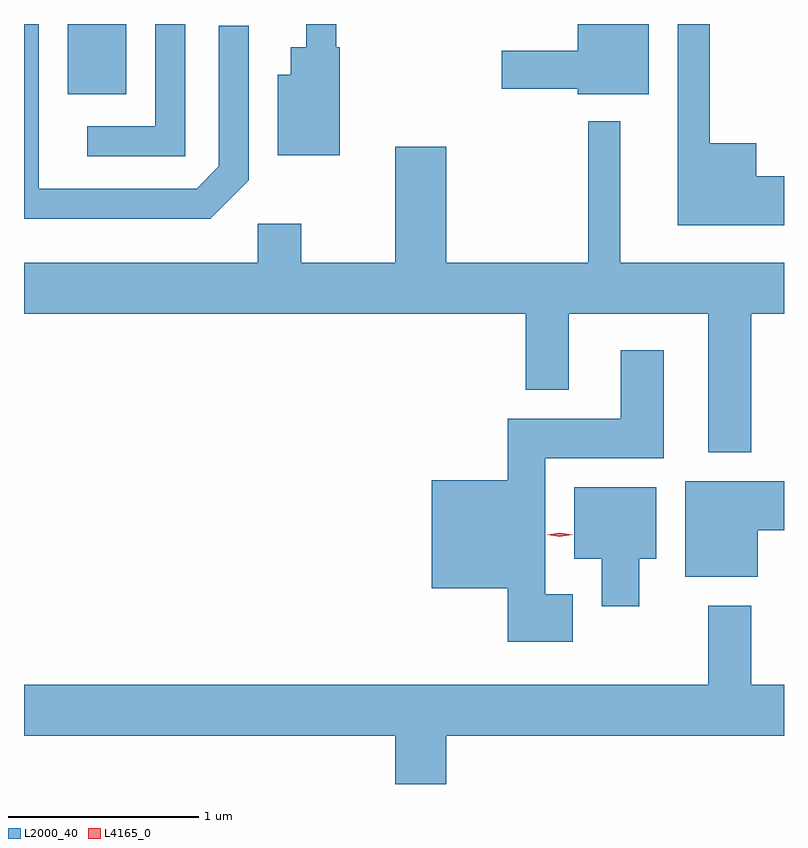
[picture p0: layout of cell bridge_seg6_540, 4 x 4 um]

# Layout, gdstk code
import gdstk
lib = gdstk.Library(unit=1e-6, precision=1e-09)
def R(c, l, rs):  # rectangles x0, y0, x1, y1
    for r in rs: c.add(gdstk.rectangle(r[:2], r[2:], *l))
def P(c, l, *ps):  # polygons
    for p in ps: c.add(gdstk.Polygon(p, *l))
L2000_40 = (2000, 40)
L4165_0 = (4165, 0)

bridge_seg6_540 = lib.new_cell('bridge_seg6_540')
R(bridge_seg6_540, L2000_40, [(433.131,1666.631,433.439,1667.001)])
P(bridge_seg6_540, L2000_40, [(436.189,1667.001),(435.816,1667.001),(435.816,1666.859),(435.416,1666.859),(435.416,1666.661),(435.816,1666.661),(435.816,1666.631),(436.189,1666.631)],
  [(433.918,1666.013),(434.013,1666.107),(434.084,1666.179),(434.084,1666.993),(433.926,1666.993),(433.926,1666.252),(433.809,1666.134),(432.979,1666.134),(432.979,1667.001),(432.901,1667.001),(432.901,1665.976),(433.882,1665.976)],
  [(433.749,1667.001),(433.591,1667.001),(433.591,1666.464),(433.233,1666.464),(433.233,1666.306),(433.749,1666.306)],
  [(434.564,1666.879),(434.544,1666.879),(434.544,1667.001),(434.386,1667.001),(434.386,1666.879),(434.306,1666.879),(434.306,1666.734),(434.236,1666.734),(434.236,1666.311),(434.564,1666.311)],
  [(436.901,1666.199),(436.754,1666.199),(436.754,1666.374),(436.509,1666.374),(436.509,1667.001),(436.341,1667.001),(436.341,1665.941),(436.901,1665.941)],
  [(436.729,1665.476),(436.901,1665.476),(436.901,1665.744),(436.039,1665.744),(436.039,1666.488),(435.871,1666.488),(435.871,1665.744),(435.124,1665.744),(435.124,1666.354),(434.856,1666.354),(434.856,1665.744),(434.359,1665.744),(434.359,1665.949),(434.131,1665.949),(434.131,1665.744),(432.901,1665.744),(432.901,1665.476),(435.541,1665.476),(435.541,1665.076),(435.769,1665.076),(435.769,1665.476),(436.501,1665.476),(436.501,1664.746),(436.729,1664.746)],
  [(435.789,1663.999),(435.644,1663.999),(435.644,1664.716),(436.269,1664.716),(436.269,1665.284),(436.041,1665.284),(436.041,1664.924),(435.446,1664.924),(435.446,1664.599),(435.046,1664.599),(435.046,1664.031),(435.446,1664.031),(435.446,1663.751),(435.789,1663.751)],
  [(436.764,1664.336),(436.901,1664.336),(436.901,1664.594),(436.381,1664.594),(436.381,1664.091),(436.764,1664.091)],
  [(436.139,1664.186),(436.229,1664.186),(436.229,1664.564),(435.796,1664.564),(435.796,1664.186),(435.941,1664.186),(435.941,1663.936),(436.139,1663.936)],
  [(435.124,1663.256),(436.901,1663.256),(436.901,1663.524),(436.729,1663.524),(436.729,1663.939),(436.501,1663.939),(436.501,1663.524),(432.901,1663.524),(432.901,1663.256),(434.856,1663.256),(434.856,1663.001),(435.124,1663.001)])
P(bridge_seg6_540, L4165_0, [(435.722,1664.303),(435.656,1664.313),(435.656,1664.313),(435.656,1664.314),(435.722,1664.323),(435.788,1664.314),(435.788,1664.313),(435.788,1664.313)])

lib.write_gds('bridge_seg6_540.gds')
